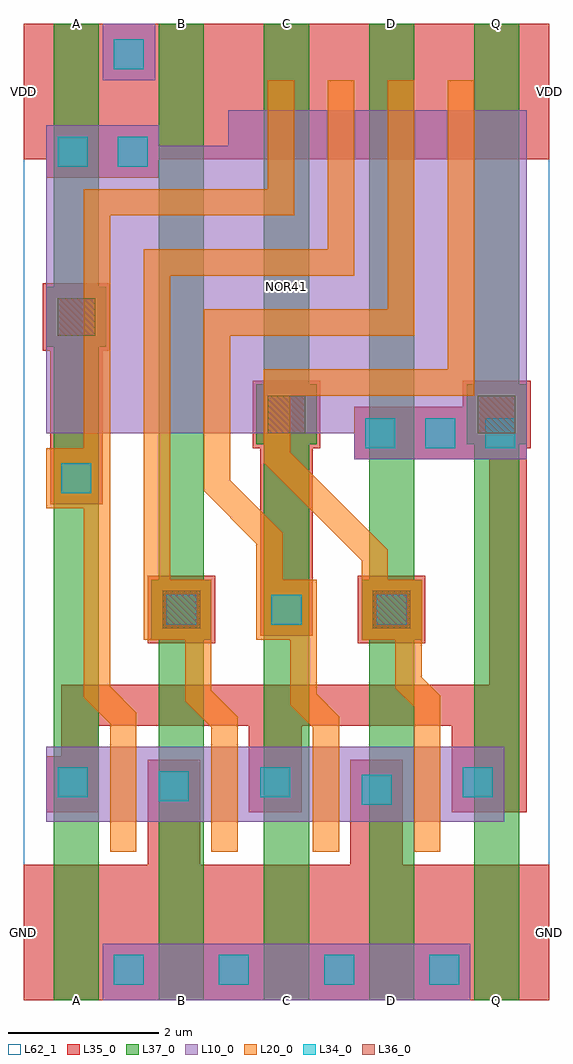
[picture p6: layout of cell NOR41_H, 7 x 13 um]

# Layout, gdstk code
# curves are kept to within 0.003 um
import gdstk
lib = gdstk.Library(unit=1e-6, precision=1e-09)
def R(c, l, rs):  # rectangles x0, y0, x1, y1
    for r in rs: c.add(gdstk.rectangle(r[:2], r[2:], *l))
def A(c, l, x, y, w, h, nx, ny, dx, dy):  # array of equal rectangles
    R(c, l, [(x+i*dx, y+j*dy, x+i*dx+w, y+j*dy+h) for i in range(nx) for j in range(ny)])
def P(c, l, *ps):  # polygons
    for p in ps: c.add(gdstk.Polygon(p, *l))
L10_0 = (10, 0)
L20_0 = (20, 0)
L34_0 = (34, 0)
L35_0 = (35, 0)
L36_0 = (36, 0)
L37_0 = (37, 0)
L62_1 = (62, 1)

nor41_h = lib.new_cell('NOR41_H')
R(nor41_h, L10_0, [(1.05,0,5.95,0.75), (0.3,2.375,6.4,3.375), (1.05,12.25,1.75,13)])
P(nor41_h, L10_0, [(6.7,11.85),(2.725,11.85),(2.725,11.375),(1.8,11.375),(1.8,11.65),(0.3,11.65),(0.3,7.55),(4.4,7.55),(4.4,7.2),(6.7,7.2)])
P(nor41_h, L20_0, [(6,12.25),(5.65,12.25),(5.65,8.4),(3.2,8.4),(3.2,7.15),(4.5,5.852),(4.5,4.8),(4.95,4.8),(4.95,4.155),(5.2,3.905),(5.2,1.975),(5.55,1.975),(5.55,4.051),(5.3,4.301),(5.3,5.6),(4.85,5.6),(4.85,5.998),(3.55,7.298),(3.55,8.05),(6,8.05)],
  [(5.2,12.25),(4.85,12.25),(4.85,9.2),(2.4,9.2),(2.4,6.78),(3.1,6.08),(3.1,4.8),(3.55,4.8),(3.55,3.93),(3.85,3.63),(3.85,1.975),(4.2,1.975),(4.2,3.776),(3.9,4.076),(3.9,5.6),(3.45,5.6),(3.45,6.226),(2.75,6.926),(2.75,8.85),(5.2,8.85)],
  [(4.4,12.25),(4.05,12.25),(4.05,10),(1.6,10),(1.6,4.8),(2.15,4.8),(2.15,3.98),(2.5,3.63),(2.5,1.975),(2.85,1.975),(2.85,3.776),(2.5,4.126),(2.5,5.6),(1.95,5.6),(1.95,9.65),(4.4,9.65)],
  [(3.6,12.25),(3.25,12.25),(3.25,10.8),(0.8,10.8),(0.8,7.35),(0.3,7.35),(0.3,6.55),(0.8,6.55),(0.8,4.03),(1.15,3.68),(1.15,1.975),(1.5,1.975),(1.5,3.826),(1.15,4.176),(1.15,10.45),(3.6,10.45)])
A(nor41_h, L34_0, 1.2, 0.2, 0.4, 0.4, 4, 1, 1.4, 0)
A(nor41_h, L34_0, 0.45, 2.7, 0.4, 0.4, 3, 1, 2.7, 0)
A(nor41_h, L34_0, 1.9, 5, 0.4, 0.4, 3, 1, 1.4, 0)
A(nor41_h, L34_0, 4.55, 7.35, 0.4, 0.4, 3, 1, 0.8, 0)
R(nor41_h, L34_0, [(4.5,2.6,4.9,3), (1.8,2.65,2.2,3.05), (0.5,6.75,0.9,7.15), (0.45,11.1,0.85,11.5), (1.25,11.1,1.65,11.5), (1.2,12.4,1.6,12.8)])
R(nor41_h, L35_0, [(1.65,4.75,2.55,5.65), (1.65,4.75,2.55,5.65), (4.45,4.75,5.35,5.65), (4.45,4.75,5.35,5.65), (3.05,7.35,3.95,8.25), (5.85,7.35,6.75,8.25), (0.25,8.65,1.15,9.55)])
P(nor41_h, L35_0, [(6.75,8.25),(5.85,8.25),(5.85,7.9),(4.4,7.9),(4.4,7.2),(6.2,7.2),(6.2,4.2),(0.5,4.2),(0.5,3.25),(0.3,3.25),(0.3,2.5),(1,2.5),(1,3.65),(3,3.65),(3,2.5),(3.7,2.5),(3.7,3.65),(5.7,3.65),(5.7,2.5),(6.7,2.5),(6.7,7.35),(6.75,7.35)],
  [(7,1.8),(5.05,1.8),(5.05,3.2),(4.35,3.2),(4.35,1.8),(2.35,1.8),(2.35,3.2),(1.65,3.2),(1.65,1.8),(0,1.8),(0,0),(7,0)],
  [(7,13),(0,13),(0,11.2),(0.3,11.2),(0.3,10.95),(1.8,10.95),(1.8,11.2),(7,11.2)],
  [(1.15,9.55),(0.25,9.55),(0.25,8.65),(0.35,8.65),(0.35,6.6),(1.05,6.6),(1.05,8.65),(1.15,8.65)],
  [(3.95,8.25),(3.05,8.25),(3.05,7.35),(3.15,7.35),(3.15,4.85),(3.85,4.85),(3.85,7.35),(3.95,7.35)])
R(nor41_h, L36_0, [(1.85,4.95,2.35,5.45), (4.65,4.95,5.15,5.45), (3.25,7.55,3.75,8.05), (6.05,7.55,6.55,8.05), (0.45,8.85,0.95,9.35)])
A(nor41_h, L37_0, 0.4, 0, 0.6, 13, 5, 1, 1.4, 0)
R(nor41_h, L37_0, [(1.7,4.8,2.5,5.6), (4.5,4.8,5.3,5.6), (3.1,7.4,3.9,8.2), (5.9,7.4,6.7,8.2), (0.3,8.7,1.1,9.5)])
R(nor41_h, L62_1, [(0,0,7,13)])
nor41_h.add(gdstk.Label('NOR41', (3.5,9.5), layer=61, texttype=2))
nor41_h.add(gdstk.Label('D', (4.9,13), layer=37, texttype=0))
nor41_h.add(gdstk.Label('B', (2.1,13), layer=37, texttype=0))
nor41_h.add(gdstk.Label('A', (0.7,13), layer=37, texttype=0))
nor41_h.add(gdstk.Label('C', (3.5,13), layer=37, texttype=0))
nor41_h.add(gdstk.Label('Q', (6.3,13), layer=37, texttype=0))
nor41_h.add(gdstk.Label('GND', (7,0.9), layer=35, texttype=0))
nor41_h.add(gdstk.Label('GND', (0,0.9), layer=35, texttype=0))
nor41_h.add(gdstk.Label('VDD', (7,12.1), layer=35, texttype=0))
nor41_h.add(gdstk.Label('VDD', (0,12.1), layer=35, texttype=0))
nor41_h.add(gdstk.Label('D', (4.9,0), layer=37, texttype=0))
nor41_h.add(gdstk.Label('B', (2.1,0), layer=37, texttype=0))
nor41_h.add(gdstk.Label('A', (0.7,0), layer=37, texttype=0))
nor41_h.add(gdstk.Label('C', (3.5,0), layer=37, texttype=0))
nor41_h.add(gdstk.Label('Q', (6.3,0), layer=37, texttype=0))

lib.write_gds('NOR41_H.gds')
